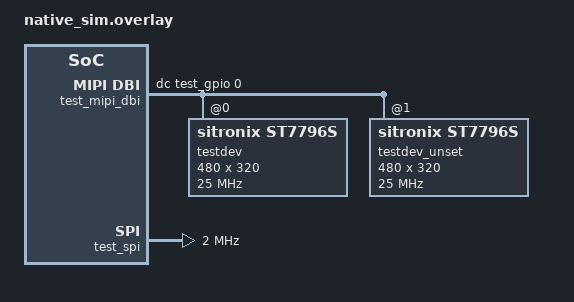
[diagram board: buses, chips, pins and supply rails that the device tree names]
/*
 * Copyright (c) 2025 Hsiu-Chi Tsai
 *
 * SPDX-License-Identifier: Apache-2.0
 *
 * Devicetree overlay that exercises MIPI_DBI_CONFIG_DT() reading the
 * optional "color-coding" property of a mipi-dbi-device child node.
 *
 * testdev sets a value (RGB888_1) so the test proves the property is really
 * read; testdev_unset omits it so the field stays unset.
 *
 * Both nodes use a Mode C mipi-mode because they hang off a
 * zephyr,mipi-dbi-spi controller, which is what MIPI_DBI_CONFIG_DT()
 * builds its spi_config from. The macro reads "color-coding" whatever the
 * mode is, and that expansion is all this test covers.
 *
 * The GPIO and SPI devices are stubs. The MIPI DBI controller and display
 * compatibles are the production ones, because they carry the bindings the
 * macro expands against, but their drivers are left out of this build.
 */

#include <zephyr/dt-bindings/mipi_dbi/mipi_dbi.h>

/ {
	test {
		#address-cells = <1>;
		#size-cells = <1>;

		test_gpio: gpio@deadbeef {
			compatible = "vnd,gpio";
			gpio-controller;
			reg = <0xdeadbeef 0x1000>;
			#gpio-cells = <0x2>;
			status = "okay";
		};

		test_mipi_dbi: test_mipi_dbi {
			compatible = "zephyr,mipi-dbi-spi";
			status = "okay";
			dc-gpios = <&test_gpio 0 0>;
			spi-dev = <&test_spi>;
			#address-cells = <1>;
			#size-cells = <0>;

			testdev: testdev@0 {
				compatible = "sitronix,st7796s";
				reg = <0x0>;
				mipi-max-frequency = <25000000>;
				mipi-mode = "MIPI_DBI_MODE_SPI_4WIRE";
				color-coding = "MIPI_DBI_MODE_RGB888_1";
				height = <320>;
				width = <480>;
				/* Dummy values, this won't drive a real panel */
				pgc = [f0 06 0b 07 06 05 2e 33 47 3a 17 16 2e 31];
				ngc = [f0 09 0d 09 08 23 2e 33 46 38 13 13 2c 32];
			};

			/* Omits color-coding, so the field stays unset. */
			testdev_unset: testdev@1 {
				compatible = "sitronix,st7796s";
				reg = <0x1>;
				mipi-max-frequency = <25000000>;
				mipi-mode = "MIPI_DBI_MODE_SPI_4WIRE";
				height = <320>;
				width = <480>;
				/* Dummy values, this won't drive a real panel */
				pgc = [f0 06 0b 07 06 05 2e 33 47 3a 17 16 2e 31];
				ngc = [f0 09 0d 09 08 23 2e 33 46 38 13 13 2c 32];
			};
		};

		test_spi: spi@33334444 {
			#address-cells = <1>;
			#size-cells = <0>;
			compatible = "vnd,spi";
			reg = <0x33334444 0x1000>;
			status = "okay";
			clock-frequency = <2000000>;
			cs-gpios = <&test_gpio 0 0>, <&test_gpio 1 0>;
		};
	};
};
